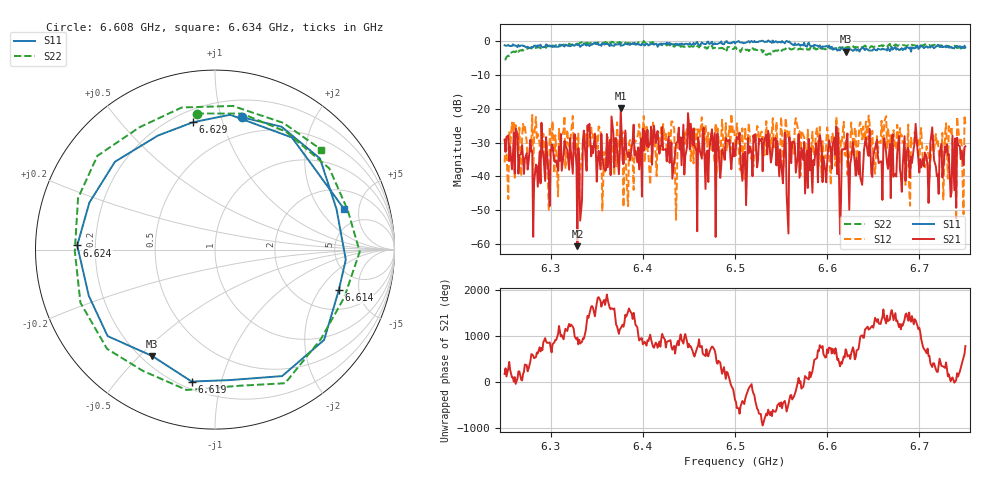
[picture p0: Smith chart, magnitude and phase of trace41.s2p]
# Hz S RI R 50
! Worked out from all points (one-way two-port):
!   401 points, 6.25 GHz to 6.75 GHz, reference 50 ohm
!   highest |S21| = -19.96 dB at 6.376 GHz (marker M1); lowest = -60.6 dB at 6.329 GHz (marker M2)
!   lowest |S11| = -3.2 dB at 6.62 GHz (marker M3), VSWR 5.42, Z = 12.1 - j27.3 ohm
!   |S11| at or under -10 dB: nowhere
!   |S22| runs from -5.6 to 0.0 dB; largest |S21 - S12| = 0.12
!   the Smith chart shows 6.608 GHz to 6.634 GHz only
!   S11 on the Smith chart (normalised r, x): 6.608 GHz: 0.34, +1.16; 6.614 GHz: 3.21, -3.07; 6.619 GHz: 0.24, -0.81; 6.624 GHz: 0.13, +0.01; 6.629 GHz: 0.27, +0.80; 6.634 GHz: 3.35, +3.49
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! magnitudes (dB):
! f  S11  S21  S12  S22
! 6.25 GHz  -1.3  -29.1  -35.8  -5.6
! 6.284 GHz  -1.5  -36.5  -22.5  -2.0
! 6.292 GHz  -1.9  -33.3  -27.4  -1.8
! 6.329 GHz  -1.3  -60.6  -35.9  -0.8
! 6.334 GHz  -1.3  -47.1  -33.3  -0.5
! 6.342 GHz  -1.6  -24.5  -29.1  -0.8
! 6.376 GHz  -1.5  -20.0  -29.1  -0.8
! 6.418 GHz  -1.0  -33.3  -29.7  -1.0
! 6.5 GHz  -0.8  -33.9  -28.7  -1.9
! 6.584 GHz  -1.6  -44.8  -26.8  -2.3
! 6.608 GHz  -2.5  -28.5  -32.3  -2.3
! 6.614 GHz  -2.8  -57.0  -36.0  -1.9
! 6.619 GHz  -2.5  -31.8  -33.6  -2.3
! 6.62 GHz  -3.2  -31.9  -33.9  -2.0
! 6.624 GHz  -2.3  -49.8  -33.7  -1.9
! 6.629 GHz  -2.9  -33.3  -34.3  -1.9
! 6.634 GHz  -2.4  -39.4  -29.4  -1.8
! 6.668 GHz  -3.0  -30.5  -31.0  -0.9
! 6.688 GHz  -2.1  -31.5  -24.7  -1.3
! 6.694 GHz  -2.2  -31.6  -30.8  -1.3
! 6.719 GHz  -1.6  -39.9  -30.7  -1.4
! 6.75 GHz  -1.9  -31.1  -24.6  -2.3
